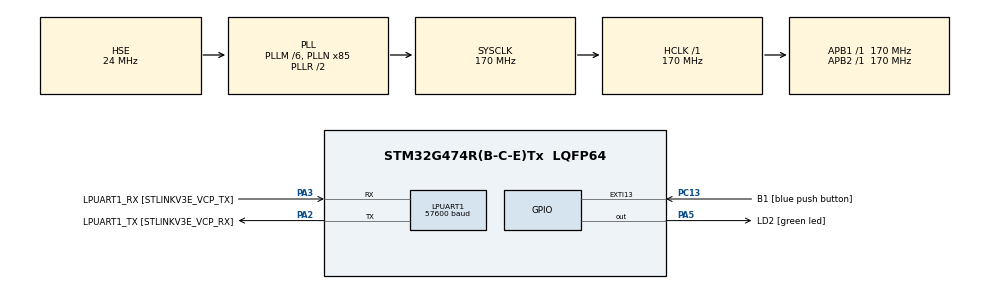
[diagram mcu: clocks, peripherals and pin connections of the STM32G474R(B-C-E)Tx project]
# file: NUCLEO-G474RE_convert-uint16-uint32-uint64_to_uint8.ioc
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LPUART1.BaudRate=57600
LPUART1.WordLength=UART_WORDLENGTH_8B
Mcu.Family=STM32G4
Mcu.Name=STM32G474R(B-C-E)Tx
Mcu.Package=LQFP64
NVIC.EXTI15_10_IRQn=true\:0\:0\:false\:false\:true\:true\:true\:true
NVIC.PriorityGroup=NVIC_PRIORITYGROUP_4
PA13.GPIO_Label=T_SWDIO
PA13.Mode=Trace_Asynchronous_SW
PA13.Signal=SYS_JTMS-SWDIO
PA14.GPIO_Label=T_SWCLK
PA14.Mode=Trace_Asynchronous_SW
PA14.Signal=SYS_JTCK-SWCLK
PA2.GPIO_Label=LPUART1_TX [STLINKV3E_VCP_RX]
PA2.Mode=Asynchronous
PA2.Signal=LPUART1_TX
PA3.GPIO_Label=LPUART1_RX [STLINKV3E_VCP_TX]
PA3.Mode=Asynchronous
PA3.Signal=LPUART1_RX
PA5.GPIO_Label=LD2 [green led]
PA5.Signal=GPIO_Output
PB3.GPIO_Label=T_SWO
PB3.Mode=Trace_Asynchronous_SW
PB3.Signal=SYS_JTDO-SWO
PC13.GPIO_Label=B1 [blue push button]
PC13.Signal=GPXTI13
PC14-OSC32_IN.Mode=LSE-External-Oscillator
PC14-OSC32_IN.Signal=RCC_OSC32_IN
PC15-OSC32_OUT.Mode=LSE-External-Oscillator
PC15-OSC32_OUT.Signal=RCC_OSC32_OUT
PF0-OSC_IN.Mode=HSE-External-Oscillator
PF0-OSC_IN.Signal=RCC_OSC_IN
PF1-OSC_OUT.Mode=HSE-External-Oscillator
PF1-OSC_OUT.Signal=RCC_OSC_OUT
ProjectManager.HeapSize=0x200
ProjectManager.StackSize=0x400
ProjectManager.TargetToolchain=STM32CubeIDE
RCC.ADC12Freq_Value=170000000
RCC.ADC345Freq_Value=170000000
RCC.AHBFreq_Value=170000000
RCC.APB1Freq_Value=170000000
RCC.APB1TimFreq_Value=170000000
RCC.APB2Freq_Value=170000000
RCC.APB2TimFreq_Value=170000000
RCC.CortexFreq_Value=170000000
RCC.EXTERNAL_CLOCK_VALUE=12288000
RCC.HCLKFreq_Value=170000000
RCC.HSE_VALUE=24000000
RCC.HSI48_VALUE=48000000
RCC.HSI_VALUE=16000000
RCC.PLLM=RCC_PLLM_DIV6
RCC.PLLN=85
RCC.PLLSourceVirtual=RCC_PLLSOURCE_HSE
RCC.RTCClockSelection=RCC_RTCCLKSOURCE_LSE
RCC.SYSCLKFreq_VALUE=170000000
RCC.SYSCLKSource=RCC_SYSCLKSOURCE_PLLCLK
RCC.USBFreq_Value=170000000
RCC.VCOOutputFreq_Value=340000000
VP_SYS_VS_DBSignals.Mode=DisableDeadBatterySignals
board=NUCLEO-G474RE

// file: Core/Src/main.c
/* USER CODE BEGIN Header */
/**
 ******************************************************************************
 * @file           : main.c
 * @brief          : Main program body
 ******************************************************************************
 * @attention
 *
 * Copyright (c) 2022 STMicroelectronics.
 * All rights reserved.
 *
 * This software is licensed under terms that can be found in the LICENSE file
 * in the root directory of this software component.
 * If no LICENSE file comes with this software, it is provided AS-IS.
 *
 ******************************************************************************
 */
/* USER CODE END Header */
#include "main.h"

/* USER CODE BEGIN Includes */

#include <stdio.h>
#include <inttypes.h>
#include <stdint.h>

/* USER CODE END Includes */

UART_HandleTypeDef hlpuart1;

/* USER CODE BEGIN PV */

uint8_t uint8_array[16];
uint16_t uint16_var = 0x1234;
uint32_t uint32_var = 0x12345678;
uint64_t uint64_var = 0x1234567890abcdef;

/* USER CODE END PV */

void SystemClock_Config(void);
static void MX_GPIO_Init(void);
static void MX_LPUART1_UART_Init(void);

int main(void)
{

	/* MCU Configuration--------------------------------------------------------*/

	/* Reset of all peripherals, Initializes the Flash interface and the Systick. */
	HAL_Init();

	/* Configure the system clock */
	SystemClock_Config();

	/* Initialize all configured peripherals */
	MX_GPIO_Init();
	MX_LPUART1_UART_Init();
	/* USER CODE BEGIN 2 */

	printf("Starting >> NUCLEO-G474RE_convert-uint16-uint32-uint64_to_uint8 \n");

	printf(" ---------------------------------------------- \n");
	printf("uint16_var = %x \n", uint16_var);
	printf("uint32_var = %x \n", uint32_var);
	printf("uint64_var = %x \n", (uint8_t *) uint64_var);
	for (uint8_t cntr = 0; cntr < sizeof(uint8_array); cntr++)
	{
		uint8_array[cntr] = 0;
		printf("uint8_array[%d] = %x \n", cntr , uint8_array[cntr]);
	}
	printf(" ---------------------------------------------- \n");

	*(uint16_t *)uint8_array = uint16_var;
	*(uint16_t *)(uint8_array + sizeof(uint16_t)) = uint16_var; // *(uint16_t *)(uint8_array + 2) = uint16_var;
	*(uint16_t *)(uint8_array + sizeof(uint16_t)*2) = uint16_var; // *(uint16_t *)(uint8_array + 4) = uint16_var;
	*(uint16_t *)(uint8_array + 6) = uint16_var;
	*(uint16_t *)(uint8_array + 8) = uint16_var;

	printf("*(uint16_t *)uint8_array = uint16_var; \n");
	printf("*(uint16_t *)(uint8_array + sizeof(uint16_t)) = uint16_var; \n");
	printf("*(uint16_t *)(uint8_array + sizeof(uint16_t)*2) = uint16_var; \n");
	printf("*(uint16_t *)(uint8_array + 6) = uint16_var; \n");
	printf("*(uint16_t *)(uint8_array + 8) = uint16_var; \n");

	for (uint8_t cntr = 0; cntr < sizeof(uint8_array); cntr++)
	{
		printf("uint8_array[%d] = %x \n", cntr , uint8_array[cntr]);
	}

	printf(" ---------------------------------------------- \n");
	for (uint8_t cntr = 0; cntr < sizeof(uint8_array); cntr++)
	{
		uint8_array[cntr] = 0;
		printf("uint8_array[%d] = %x \n", cntr , uint8_array[cntr]);
	}
	printf(" ---------------------------------------------- \n");

	*(uint32_t *)uint8_array = uint32_var;
	*(uint32_t *)(uint8_array + sizeof(uint32_t)) = uint32_var; // *(uint32_t *)(uint8_array + 4) = uint32_var;
	*(uint32_t *)(uint8_array + sizeof(uint32_t)*2) = uint32_var; // *(uint32_t *)(uint8_array + 8) = uint32_var;
	*(uint32_t *)(uint8_array + 12) = uint32_var;

	printf("*(uint32_t *)uint8_array = uint32_var; \n");
	printf("*(uint32_t *)(uint8_array + sizeof(uint32_t)) = uint32_var; \n");
	printf("*(uint32_t *)(uint8_array + sizeof(uint32_t)*2) = uint32_var; \n");
	printf("*(uint32_t *)(uint8_array + 12) = uint32_var; \n");

	for (uint8_t cntr = 0; cntr < sizeof(uint8_array); cntr++)
	{
		printf("uint8_array[%d] = %x \n", cntr , uint8_array[cntr]);
	}

	printf(" ---------------------------------------------- \n");
	for (uint8_t cntr = 0; cntr < sizeof(uint8_array); cntr++)
	{
		uint8_array[cntr] = 0;
		printf("uint8_array[%d] = %x \n", cntr , uint8_array[cntr]);
	}
	printf(" ---------------------------------------------- \n");

	*(uint64_t *)uint8_array = uint64_var;
	*(uint64_t *)(uint8_array + sizeof(uint64_t)) = uint64_var; // *(uint16_t *)(uint8_array + 8) = uint64_var;

	printf("*(uint64_t *)uint8_array = uint64_var; \n");
	printf("*(uint64_t *)(uint8_array + sizeof(uint64_t)) = uint64_var; \n");

	for (uint8_t cntr = 0; cntr < sizeof(uint8_array); cntr++)
	{
		printf("uint8_array[%d] = %x \n", cntr , uint8_array[cntr]);
	}

	printf(" ---------------------------------------------- \n");

	uint16_var = 0;
	uint32_var = 0;
	uint64_var = 0;
	printf("uint16_var = %x \n", uint16_var);
	printf("uint32_var = %x \n", uint32_var);
	printf("uint64_var = %x \n", (uint64_t *) uint64_var);

	printf(" ---------------------------------------------- \n");
	uint16_var = *(uint16_t *)uint8_array;
	printf("uint16_var = *(uint16_t *)uint8_array; \n");
	printf("uint16_var = %x \n", uint16_var);

	printf(" ---------------------------------------------- \n");
	uint32_var = *(uint32_t *)uint8_array;
	printf("uint32_var = *(uint32_var *)uint8_array; \n");
	printf("uint32_var = %x \n", uint32_var);

	printf(" ---------------------------------------------- \n");
	uint64_var = *(uint64_t *)uint8_array;
	printf("uint64_var = *(uint64_var *)uint8_array; \n");
	printf("uint64_var = %08x%08x \n", uint64_var); // https://stackoverflow.com/questions/19284978/unsigned-long-long-type-printing-in-hexadecimal-format;

	printf(" ---------------------------------------------- \n");

	printf("Ending >> NUCLEO-G474RE_convert-uint16-uint32-uint64_to_uint8 \n");

	/* USER CODE END 2 */

	/* Infinite loop */
	while (1)
	{

	}
}

void SystemClock_Config(void)
{
	RCC_OscInitTypeDef RCC_OscInitStruct = {0};
	RCC_ClkInitTypeDef RCC_ClkInitStruct = {0};

	/** Configure the main internal regulator output voltage
	 */
	HAL_PWREx_ControlVoltageScaling(PWR_REGULATOR_VOLTAGE_SCALE1_BOOST);

	/** Initializes the RCC Oscillators according to the specified parameters
	 * in the RCC_OscInitTypeDef structure.
	 */
	RCC_OscInitStruct.OscillatorType = RCC_OSCILLATORTYPE_HSE;
	RCC_OscInitStruct.HSEState = RCC_HSE_ON;
	RCC_OscInitStruct.PLL.PLLState = RCC_PLL_ON;
	RCC_OscInitStruct.PLL.PLLSource = RCC_PLLSOURCE_HSE;
	RCC_OscInitStruct.PLL.PLLM = RCC_PLLM_DIV6;
	RCC_OscInitStruct.PLL.PLLN = 85;
	RCC_OscInitStruct.PLL.PLLP = RCC_PLLP_DIV2;
	RCC_OscInitStruct.PLL.PLLQ = RCC_PLLQ_DIV2;
	RCC_OscInitStruct.PLL.PLLR = RCC_PLLR_DIV2;
	if (HAL_RCC_OscConfig(&RCC_OscInitStruct) != HAL_OK)
	{
		Error_Handler();
	}

	/** Initializes the CPU, AHB and APB buses clocks
	 */
	RCC_ClkInitStruct.ClockType = RCC_CLOCKTYPE_HCLK|RCC_CLOCKTYPE_SYSCLK
			|RCC_CLOCKTYPE_PCLK1|RCC_CLOCKTYPE_PCLK2;
	RCC_ClkInitStruct.SYSCLKSource = RCC_SYSCLKSOURCE_PLLCLK;
	RCC_ClkInitStruct.AHBCLKDivider = RCC_SYSCLK_DIV1;
	RCC_ClkInitStruct.APB1CLKDivider = RCC_HCLK_DIV1;
	RCC_ClkInitStruct.APB2CLKDivider = RCC_HCLK_DIV1;

	if (HAL_RCC_ClockConfig(&RCC_ClkInitStruct, FLASH_LATENCY_4) != HAL_OK)
	{
		Error_Handler();
	}
}

static void MX_LPUART1_UART_Init(void)
{

	hlpuart1.Instance = LPUART1;
	hlpuart1.Init.BaudRate = 57600;
	hlpuart1.Init.WordLength = UART_WORDLENGTH_8B;
	hlpuart1.Init.StopBits = UART_STOPBITS_1;
	hlpuart1.Init.Parity = UART_PARITY_NONE;
	hlpuart1.Init.Mode = UART_MODE_TX_RX;
	hlpuart1.Init.HwFlowCtl = UART_HWCONTROL_NONE;
	hlpuart1.Init.OneBitSampling = UART_ONE_BIT_SAMPLE_DISABLE;
	hlpuart1.Init.ClockPrescaler = UART_PRESCALER_DIV1;
	hlpuart1.AdvancedInit.AdvFeatureInit = UART_ADVFEATURE_NO_INIT;
	if (HAL_UART_Init(&hlpuart1) != HAL_OK)
	{
		Error_Handler();
	}
	if (HAL_UARTEx_SetTxFifoThreshold(&hlpuart1, UART_TXFIFO_THRESHOLD_1_8) != HAL_OK)
	{
		Error_Handler();
	}
	if (HAL_UARTEx_SetRxFifoThreshold(&hlpuart1, UART_RXFIFO_THRESHOLD_1_8) != HAL_OK)
	{
		Error_Handler();
	}
	if (HAL_UARTEx_DisableFifoMode(&hlpuart1) != HAL_OK)
	{
		Error_Handler();
	}

}

static void MX_GPIO_Init(void)
{
	GPIO_InitTypeDef GPIO_InitStruct = {0};

	/* GPIO Ports Clock Enable */
	__HAL_RCC_GPIOC_CLK_ENABLE();
	__HAL_RCC_GPIOF_CLK_ENABLE();
	__HAL_RCC_GPIOA_CLK_ENABLE();
	__HAL_RCC_GPIOB_CLK_ENABLE();

	/*Configure GPIO pin Output Level */
	HAL_GPIO_WritePin(LD2_GPIO_Port, LD2_Pin, GPIO_PIN_RESET);

	/*Configure GPIO pin : B1_Pin */
	GPIO_InitStruct.Pin = B1_Pin;
	GPIO_InitStruct.Mode = GPIO_MODE_IT_RISING;
	GPIO_InitStruct.Pull = GPIO_NOPULL;
	HAL_GPIO_Init(B1_GPIO_Port, &GPIO_InitStruct);

	/*Configure GPIO pin : LD2_Pin */
	GPIO_InitStruct.Pin = LD2_Pin;
	GPIO_InitStruct.Mode = GPIO_MODE_OUTPUT_PP;
	GPIO_InitStruct.Pull = GPIO_NOPULL;
	GPIO_InitStruct.Speed = GPIO_SPEED_FREQ_LOW;
	HAL_GPIO_Init(LD2_GPIO_Port, &GPIO_InitStruct);

	/* EXTI interrupt init*/
	HAL_NVIC_SetPriority(EXTI15_10_IRQn, 0, 0);
	HAL_NVIC_EnableIRQ(EXTI15_10_IRQn);

}

void Error_Handler(void)
{
	__disable_irq();
	while (1)
	{
	}
}
